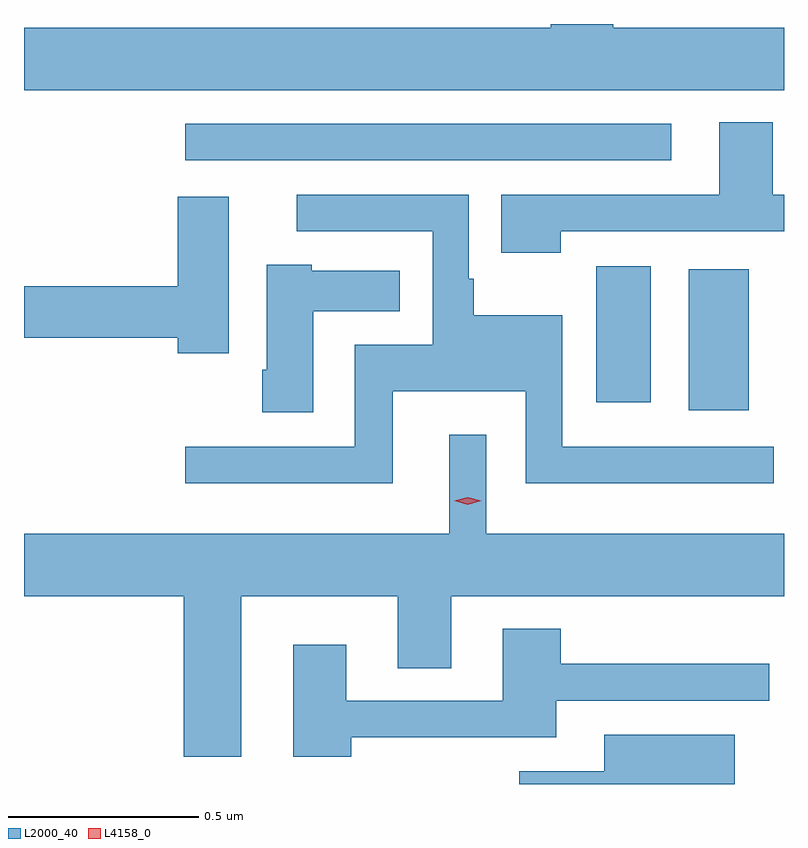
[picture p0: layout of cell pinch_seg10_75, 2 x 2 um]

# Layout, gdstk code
import gdstk
lib = gdstk.Library(unit=1e-6, precision=1e-09)
def R(c, l, rs):  # rectangles x0, y0, x1, y1
    for r in rs: c.add(gdstk.rectangle(r[:2], r[2:], *l))
def P(c, l, *ps):  # polygons
    for p in ps: c.add(gdstk.Polygon(p, *l))
L2000_40 = (2000, 40)
L4158_0 = (4158, 0)

pinch_seg10_75 = lib.new_cell('pinch_seg10_75')
R(pinch_seg10_75, L2000_40, [(820.706,1319.454,820.864,1319.824), (820.463,1319.475,820.606,1319.833), (819.381,1320.111,820.66,1320.207)])
P(pinch_seg10_75, L2000_40, [(820.957,1320.46),(820.508,1320.46),(820.508,1320.47),(820.343,1320.47),(820.343,1320.46),(818.957,1320.46),(818.957,1320.296),(820.957,1320.296)],
  [(820.37,1319.925),(820.957,1319.925),(820.957,1320.021),(820.927,1320.021),(820.927,1320.211),(820.787,1320.211),(820.787,1320.021),(820.213,1320.021),(820.213,1319.868),(820.37,1319.868)],
  [(819.928,1319.504),(820.278,1319.504),(820.278,1319.261),(820.93,1319.261),(820.93,1319.358),(820.374,1319.358),(820.374,1319.704),(820.141,1319.704),(820.141,1319.8),(820.128,1319.8),(820.128,1320.021),(819.675,1320.021),(819.675,1319.925),(820.032,1319.925),(820.032,1319.626),(819.827,1319.626),(819.827,1319.358),(819.381,1319.358),(819.381,1319.261),(819.928,1319.261)],
  [(819.496,1320.016),(819.362,1320.016),(819.362,1319.78),(818.957,1319.78),(818.957,1319.644),(819.362,1319.644),(819.362,1319.604),(819.496,1319.604)],
  [(819.718,1319.714),(819.946,1319.714),(819.946,1319.821),(819.714,1319.821),(819.714,1319.836),(819.596,1319.836),(819.596,1319.56),(819.584,1319.56),(819.584,1319.448),(819.718,1319.448)],
  [(819.529,1318.964),(819.941,1318.964),(819.941,1318.774),(820.081,1318.774),(820.081,1318.964),(820.957,1318.964),(820.957,1319.128),(820.173,1319.128),(820.173,1319.389),(820.076,1319.389),(820.076,1319.128),(818.957,1319.128),(818.957,1318.964),(819.377,1318.964),(819.377,1318.542),(819.529,1318.542)],
  [(819.818,1318.593),(820.357,1318.593),(820.357,1318.689),(820.918,1318.689),(820.918,1318.786),(820.37,1318.786),(820.37,1318.879),(820.217,1318.879),(820.217,1318.689),(819.805,1318.689),(819.805,1318.837),(819.665,1318.837),(819.665,1318.542),(819.818,1318.542)],
  [(820.828,1318.6),(820.484,1318.6),(820.484,1318.503),(820.26,1318.503),(820.26,1318.47),(820.828,1318.47)])
P(pinch_seg10_75, L4158_0, [(820.125,1319.205),(820.089,1319.215),(820.089,1319.215),(820.089,1319.215),(820.125,1319.225),(820.16,1319.215),(820.16,1319.215),(820.16,1319.215)])

lib.write_gds('pinch_seg10_75.gds')
